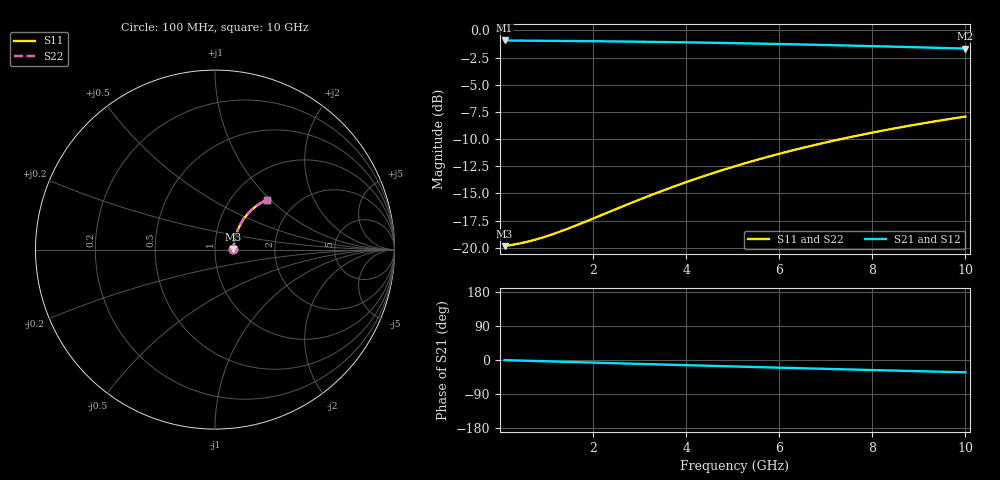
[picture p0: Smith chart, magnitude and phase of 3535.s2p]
# Hz S RI R 50.00
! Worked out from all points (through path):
!   100 points, 100 MHz to 10 GHz, reference 50 ohm
!   highest |S21| = -0.93 dB at 100 MHz (marker M1); lowest = -1.7 dB at 10 GHz (marker M2)
!   group delay of S21, straight-line fit = 9.06 ps
!   lowest |S11| = -19.8 dB at 100 MHz (marker M3), VSWR 1.23, Z = 61.3 + j0.467 ohm
!   |S11| at or under -10 dB: start of sweep to 7.328 GHz
!   |S22| runs from -19.8 to -7.9 dB; largest |S21 - S12| = 0
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1e8  0.1017 0.00377  0.8983 -0.00541  0.8983 -0.00541  0.1017 0.00377
5e8  0.104 0.0187  0.896 -0.0269  0.896 -0.0269  0.104 0.0187
7e8  0.105 0.0262  0.8949 -0.0377  0.8949 -0.0377  0.105 0.0262
9e8  0.1061 0.0336  0.8937 -0.0484  0.8937 -0.0484  0.1061 0.0336
1.1e9  0.1074 0.041  0.8924 -0.059  0.8924 -0.059  0.1074 0.041
1.3e9  0.1088 0.0483  0.891 -0.0697  0.891 -0.0697  0.1088 0.0483
1.8e9  0.1128 0.0664  0.8867 -0.096  0.8867 -0.096  0.1128 0.0664
2.8e9  0.1239 0.1017  0.875 -0.1477  0.875 -0.1477  0.1239 0.1017
3.4e9  0.1323 0.1219  0.866 -0.1778  0.866 -0.1778  0.1323 0.1219
3.8e9  0.1387 0.135  0.8592 -0.1975  0.8592 -0.1975  0.1387 0.135
4.2e9  0.1456 0.1477  0.8519 -0.2168  0.8519 -0.2168  0.1456 0.1477
4.6e9  0.153 0.16  0.8439 -0.2357  0.8439 -0.2357  0.153 0.16
5.1e9  0.163 0.1748  0.8332 -0.2588  0.8332 -0.2588  0.163 0.1748
5.5e9  0.1716 0.1861  0.8241 -0.2767  0.8241 -0.2767  0.1716 0.1861
5.9e9  0.1805 0.1969  0.8144 -0.2941  0.8144 -0.2941  0.1805 0.1969
6.3e9  0.1899 0.2072  0.8043 -0.311  0.8043 -0.311  0.1899 0.2072
6.7e9  0.1997 0.217  0.7938 -0.3275  0.7938 -0.3275  0.1997 0.217
7.5e9  0.2202 0.235  0.7717 -0.3588  0.7717 -0.3588  0.2202 0.235
7.9e9  0.2309 0.2432  0.7601 -0.3737  0.7601 -0.3737  0.2309 0.2432
8.4e9  0.2446 0.2526  0.7452 -0.3915  0.7452 -0.3915  0.2446 0.2526
9.2e9  0.2671 0.266  0.7206 -0.4183  0.7206 -0.4183  0.2671 0.266
1e10  0.2903 0.2772  0.6951 -0.4429  0.6951 -0.4429  0.2903 0.2772
